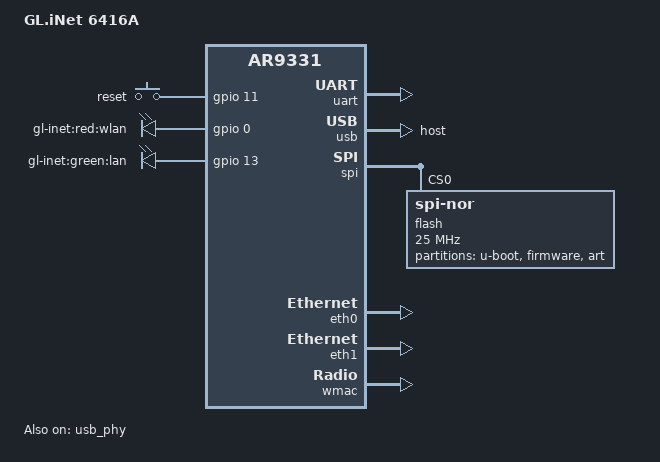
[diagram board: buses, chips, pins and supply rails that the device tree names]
// SPDX-License-Identifier: GPL-2.0-or-later OR MIT
/dts-v1/;

#include <dt-bindings/gpio/gpio.h>
#include <dt-bindings/input/input.h>

#include "ar9331.dtsi"

/ {
	model = "GL.iNet 6416A";
	compatible = "glinet,6416a", "qca,ar9331";

	aliases {
		serial0 = &uart;
		led-boot = &wlan;
		led-failsafe = &wlan;
		led-upgrade = &wlan;
	};

	keys {
		compatible = "gpio-keys-polled";
		poll-interval = <20>;

		reset {
			label = "reset";
			linux,code = <KEY_RESTART>;
			gpios = <&gpio 11 GPIO_ACTIVE_HIGH>;
		};
	};

	leds {
		compatible = "gpio-leds";
		pinctrl-names = "default";
		pinctrl-0 = <&switch_led_disable_pins>;

		wlan: wlan {
			label = "gl-inet:red:wlan";
			gpios = <&gpio 0 GPIO_ACTIVE_HIGH>;
			linux,default-trigger = "phy0tpt";
		};

		lan {
			label = "gl-inet:green:lan";
			gpios = <&gpio 13 GPIO_ACTIVE_HIGH>;
		};
	};
};

&uart {
	status = "okay";
};

&gpio {
	status = "okay";
};

&usb {
	dr_mode = "host";
	status = "okay";
};

&usb_phy {
	status = "okay";
};

&spi {
	num-cs = <1>;
	status = "okay";

	flash@0 {
		compatible = "jedec,spi-nor";
		spi-max-frequency = <25000000>;
		reg = <0>;

		partitions {
			compatible = "fixed-partitions";
			#address-cells = <1>;
			#size-cells = <1>;

			uboot: partition@0 {
				label = "u-boot";
				reg = <0x000000 0x020000>;
				read-only;
			};

			partition@20000 {
				compatible = "tplink,firmware";
				label = "firmware";
				reg = <0x020000 0xfd0000>;
			};

			art: partition@ff0000 {
				label = "art";
				reg = <0xff0000 0x010000>;
				read-only;
			};
		};
	};
};

&eth0 {
	status = "okay";

	mtd-mac-address = <&uboot 0x1fc00>;
	mtd-mac-address-increment = <1>;

	gmac-config {
		device = <&gmac>;

		switch-phy-addr-swap = <1>;
		switch-phy-swap = <1>;
	};
};

&eth1 {
	status = "okay";

	mtd-mac-address = <&uboot 0x1fc00>;
	mtd-mac-address-increment = <(-1)>;
};

&wmac {
	status = "okay";
	mtd-cal-data = <&art 0x1000>;
	mtd-mac-address = <&uboot 0x1fc00>;
};
